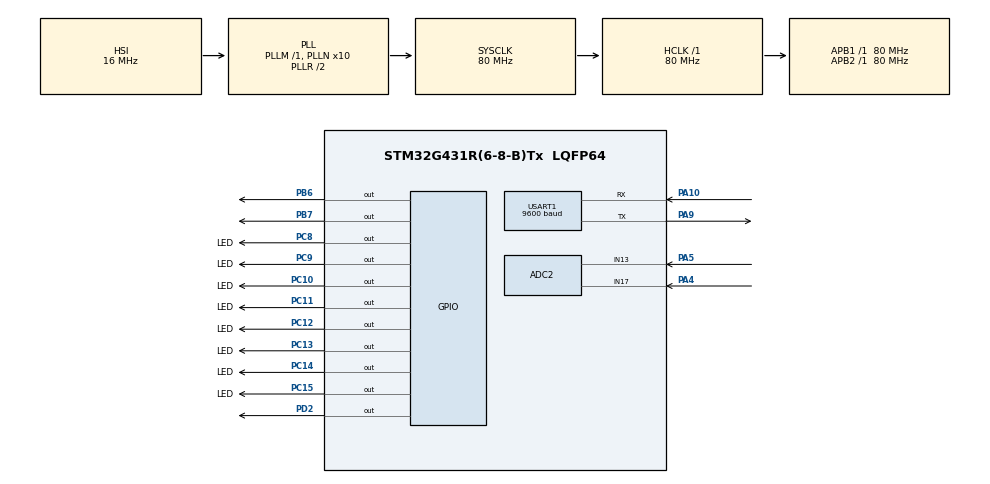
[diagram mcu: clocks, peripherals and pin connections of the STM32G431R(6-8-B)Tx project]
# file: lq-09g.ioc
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ADC2.Channel-0\#ChannelRegularConversion=ADC_CHANNEL_17
ADC2.Channel-1\#ChannelRegularConversion=ADC_CHANNEL_13
ADC2.ClockPrescaler=ADC_CLOCK_SYNC_PCLK_DIV2
ADC2.ContinuousConvMode=ENABLE
ADC2.DMAContinuousRequests=ENABLE
ADC2.EOCSelection=ADC_EOC_SEQ_CONV
ADC2.ExternalTrigConv=ADC_SOFTWARE_START
ADC2.NbrOfConversion=2
ADC2.NbrOfConversionFlag=1
ADC2.OffsetNumber-0\#ChannelRegularConversion=ADC_OFFSET_NONE
ADC2.OffsetNumber-1\#ChannelRegularConversion=ADC_OFFSET_NONE
ADC2.Rank-0\#ChannelRegularConversion=1
ADC2.Rank-1\#ChannelRegularConversion=2
ADC2.SamplingTime-0\#ChannelRegularConversion=ADC_SAMPLETIME_47CYCLES_5
ADC2.SamplingTime-1\#ChannelRegularConversion=ADC_SAMPLETIME_47CYCLES_5
Dma.ADC2.0.Direction=DMA_PERIPH_TO_MEMORY
Dma.ADC2.0.EventEnable=DISABLE
Dma.ADC2.0.Instance=DMA1_Channel1
Dma.ADC2.0.MemDataAlignment=DMA_MDATAALIGN_WORD
Dma.ADC2.0.MemInc=DMA_MINC_ENABLE
Dma.ADC2.0.Mode=DMA_CIRCULAR
Dma.ADC2.0.PeriphDataAlignment=DMA_PDATAALIGN_HALFWORD
Dma.ADC2.0.PeriphInc=DMA_PINC_DISABLE
Dma.ADC2.0.Polarity=HAL_DMAMUX_REQ_GEN_RISING
Dma.ADC2.0.Priority=DMA_PRIORITY_HIGH
Dma.ADC2.0.RequestNumber=1
Dma.ADC2.0.SignalID=NONE
Dma.ADC2.0.SyncEnable=DISABLE
Dma.ADC2.0.SyncPolarity=HAL_DMAMUX_SYNC_NO_EVENT
Dma.ADC2.0.SyncRequestNumber=1
Dma.ADC2.0.SyncSignalID=NONE
Dma.Request0=ADC2
Mcu.Family=STM32G4
Mcu.Name=STM32G431R(6-8-B)Tx
Mcu.Package=LQFP64
NVIC.ADC1_2_IRQn=true\:0\:0\:false\:false\:true\:true\:true\:true
NVIC.DMA1_Channel1_IRQn=true\:0\:0\:false\:false\:true\:false\:true\:true
NVIC.PriorityGroup=NVIC_PRIORITYGROUP_4
NVIC.TIM6_DAC_IRQn=true\:0\:0\:false\:false\:true\:true\:true\:true
PA10.Mode=Asynchronous
PA10.Signal=USART1_RX
PA13.Mode=Serial_Wire
PA13.Signal=SYS_JTMS-SWDIO
PA14.Mode=Serial_Wire
PA14.Signal=SYS_JTCK-SWCLK
PA4.Mode=IN17-Single-Ended
PA4.Signal=ADC2_IN17
PA5.Mode=IN13-Single-Ended
PA5.Signal=ADC2_IN13
PA9.Mode=Asynchronous
PA9.Signal=USART1_TX
PB6.Signal=GPIO_Output
PB7.Signal=GPIO_Output
PC10.GPIO_Label=LED
PC10.GPIO_ModeDefaultOutputPP=GPIO_MODE_OUTPUT_PP
PC10.GPIO_PuPd=GPIO_PULLUP
PC10.GPIO_Speed=GPIO_SPEED_FREQ_LOW
PC10.PinState=GPIO_PIN_SET
PC10.Signal=GPIO_Output
PC11.GPIO_Label=LED
PC11.GPIO_ModeDefaultOutputPP=GPIO_MODE_OUTPUT_PP
PC11.GPIO_PuPd=GPIO_PULLUP
PC11.GPIO_Speed=GPIO_SPEED_FREQ_LOW
PC11.PinState=GPIO_PIN_SET
PC11.Signal=GPIO_Output
PC12.GPIO_Label=LED
PC12.GPIO_ModeDefaultOutputPP=GPIO_MODE_OUTPUT_PP
PC12.GPIO_PuPd=GPIO_PULLUP
PC12.GPIO_Speed=GPIO_SPEED_FREQ_LOW
PC12.PinState=GPIO_PIN_SET
PC12.Signal=GPIO_Output
PC13.GPIO_Label=LED
PC13.GPIO_ModeDefaultOutputPP=GPIO_MODE_OUTPUT_PP
PC13.GPIO_PuPd=GPIO_PULLUP
PC13.GPIO_Speed=GPIO_SPEED_FREQ_LOW
PC13.PinState=GPIO_PIN_SET
PC13.Signal=GPIO_Output
PC14-OSC32_IN.GPIO_Label=LED
PC14-OSC32_IN.GPIO_ModeDefaultOutputPP=GPIO_MODE_OUTPUT_PP
PC14-OSC32_IN.GPIO_PuPd=GPIO_PULLUP
PC14-OSC32_IN.GPIO_Speed=GPIO_SPEED_FREQ_LOW
PC14-OSC32_IN.PinState=GPIO_PIN_SET
PC14-OSC32_IN.Signal=GPIO_Output
PC15-OSC32_OUT.GPIO_Label=LED
PC15-OSC32_OUT.GPIO_ModeDefaultOutputPP=GPIO_MODE_OUTPUT_PP
PC15-OSC32_OUT.GPIO_PuPd=GPIO_PULLUP
PC15-OSC32_OUT.GPIO_Speed=GPIO_SPEED_FREQ_LOW
PC15-OSC32_OUT.PinState=GPIO_PIN_SET
PC15-OSC32_OUT.Signal=GPIO_Output
PC8.GPIO_Label=LED
PC8.GPIO_ModeDefaultOutputPP=GPIO_MODE_OUTPUT_PP
PC8.GPIO_PuPd=GPIO_PULLUP
PC8.GPIO_Speed=GPIO_SPEED_FREQ_LOW
PC8.PinState=GPIO_PIN_SET
PC8.Signal=GPIO_Output
PC9.GPIO_Label=LED
PC9.GPIO_ModeDefaultOutputPP=GPIO_MODE_OUTPUT_PP
PC9.GPIO_PuPd=GPIO_PULLUP
PC9.GPIO_Speed=GPIO_SPEED_FREQ_LOW
PC9.PinState=GPIO_PIN_SET
PC9.Signal=GPIO_Output
PD2.GPIO_PuPd=GPIO_PULLDOWN
PD2.Signal=GPIO_Output
PF0-OSC_IN.Mode=HSE-External-Oscillator
PF0-OSC_IN.Signal=RCC_OSC_IN
PF1-OSC_OUT.Mode=HSE-External-Oscillator
PF1-OSC_OUT.Signal=RCC_OSC_OUT
ProjectManager.HeapSize=0x200
ProjectManager.StackSize=0x400
ProjectManager.TargetToolchain=MDK-ARM V5
RCC.ADC12Freq_Value=80000000
RCC.AHBFreq_Value=80000000
RCC.APB1Freq_Value=80000000
RCC.APB1TimFreq_Value=80000000
RCC.APB2Freq_Value=80000000
RCC.APB2TimFreq_Value=80000000
RCC.CortexFreq_Value=80000000
RCC.EXTERNAL_CLOCK_VALUE=12288000
RCC.HCLKFreq_Value=80000000
RCC.HSE_VALUE=8000000
RCC.HSI48_VALUE=48000000
RCC.HSI_VALUE=16000000
RCC.LSE_VALUE=32768
RCC.PLLN=10
RCC.SYSCLKFreq_VALUE=80000000
RCC.SYSCLKSource=RCC_SYSCLKSOURCE_PLLCLK
RCC.USBFreq_Value=80000000
RCC.VCOOutputFreq_Value=160000000
TIM6.AutoReloadPreload=TIM_AUTORELOAD_PRELOAD_ENABLE
TIM6.PeriodNoDither=9999
TIM6.Prescaler=799
TIM6.TIM_MasterOutputTrigger=TIM_TRGO_RESET
USART1.BaudRate=9600
USART1.VirtualMode-Asynchronous=VM_ASYNC
VP_SYS_VS_DBSignals.Mode=DisableDeadBatterySignals
VP_TIM6_VS_ClockSourceINT.Mode=Enable_Timer
board=custom

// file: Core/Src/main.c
/* USER CODE BEGIN Header */
/**
  ******************************************************************************
  * @file           : main.c
  * @brief          : Main program body
  ******************************************************************************
  * @attention
  *
  * Copyright (c) 2023 STMicroelectronics.
  * All rights reserved.
  *
  * This software is licensed under terms that can be found in the LICENSE file
  * in the root directory of this software component.
  * If no LICENSE file comes with this software, it is provided AS-IS.
  *
  ******************************************************************************
  */
/* USER CODE END Header */
#include "main.h"
#include "adc.h"
#include "dma.h"
#include "tim.h"
#include "usart.h"
#include "gpio.h"

/* USER CODE BEGIN Includes */
#include <stdlib.h>
#include <stdbool.h>
#include <stdio.h>
#include <stdarg.h>
#include <string.h>
#include <math.h>
#include "i2c.h"
#include "lcd.h"
/* USER CODE END Includes */

/* USER CODE BEGIN PTD */
typedef struct _adcData {
	uint32_t vin;
	uint32_t key;
} ADCData;
/* USER CODE END PTD */

/* USER CODE BEGIN PD */
#define ADC_BUF_SIZE 1
/* USER CODE END PD */

/* USER CODE BEGIN PM */
#define dspl(ln, txt) \
	LCD_DisplayStringLine(ln * 24, (uint8_t *)txt)

#define putKeyBuf(k, s) \
	keyBuf[k] = (keyBuf[k] << 1) | s

#define getKey(r) \
	((r < 2048) ? \
		(r < 128) ? 1 : \
		(r < 1024) ? 2 : \
		(r < 1500) ? 3 : \
		4 : \
	(r < 2500) ? 5 : \
	(r < 3000) ? 6 : \
	(r < 3700) ? 7 : \
	(r < 4000) << 3)
/* USER CODE END PM */

/* USER CODE BEGIN PV */
ADCData 	adcBuf;
uint8_t		keyBuf		= 0;
uint8_t		keyStreak	= 0;
uint32_t	keyIn		= 0;
bool 		settings 	= false;
uint8_t		goodsCode	= 1; // 1-3
uint32_t	*unitPrices;
uint32_t	changes		= 0;
uint32_t 	weight		= 0;
bool		keyDown[9]	= {0};
/* USER CODE END PV */

void SystemClock_Config(void);
/* USER CODE BEGIN PFP */
void dsplf(int ln, const char *, ...);
void render(void);
void updateWeight(int wt);
void setGoodsCode(int code);
/* USER CODE END PFP */

int main(void)
{
  /* USER CODE BEGIN 1 */
	unitPrices = (uint32_t *)malloc(128);
	unitPrices[1] = 1;
	unitPrices[2] = 2;
	unitPrices[3] = 5;

  /* USER CODE END 1 */

  /* MCU Configuration--------------------------------------------------------*/

  /* Reset of all peripherals, Initializes the Flash interface and the Systick. */
  HAL_Init();

  /* Configure the system clock */
  SystemClock_Config();

  /* Initialize all configured peripherals */
  MX_GPIO_Init();
  MX_DMA_Init();
  MX_ADC2_Init();
  MX_TIM6_Init();
  MX_USART1_UART_Init();
  /* USER CODE BEGIN 2 */

	//lcd init
	HAL_ADCEx_Calibration_Start(&hadc2, ADC_SINGLE_ENDED);
	HAL_ADC_Start_DMA(&hadc2, (uint32_t *)&adcBuf, 2);
	HAL_TIM_Base_Start_IT(&htim6);

	//i2c read & prices fetch

	LCD_Init();
	LCD_PowerOn();
	LCD_SetBackColor(Black);
	LCD_SetTextColor(White);
	LCD_Clear(Black);
	render();

  /* USER CODE END 2 */

  /* Infinite loop */
  while (1)
  {

  }
}

void SystemClock_Config(void)
{
  RCC_OscInitTypeDef RCC_OscInitStruct = {0};
  RCC_ClkInitTypeDef RCC_ClkInitStruct = {0};

  /** Configure the main internal regulator output voltage
  */
  HAL_PWREx_ControlVoltageScaling(PWR_REGULATOR_VOLTAGE_SCALE1);

  /** Initializes the RCC Oscillators according to the specified parameters
  * in the RCC_OscInitTypeDef structure.
  */
  RCC_OscInitStruct.OscillatorType = RCC_OSCILLATORTYPE_HSI;
  RCC_OscInitStruct.HSIState = RCC_HSI_ON;
  RCC_OscInitStruct.HSICalibrationValue = RCC_HSICALIBRATION_DEFAULT;
  RCC_OscInitStruct.PLL.PLLState = RCC_PLL_ON;
  RCC_OscInitStruct.PLL.PLLSource = RCC_PLLSOURCE_HSI;
  RCC_OscInitStruct.PLL.PLLM = RCC_PLLM_DIV1;
  RCC_OscInitStruct.PLL.PLLN = 10;
  RCC_OscInitStruct.PLL.PLLP = RCC_PLLP_DIV2;
  RCC_OscInitStruct.PLL.PLLQ = RCC_PLLQ_DIV2;
  RCC_OscInitStruct.PLL.PLLR = RCC_PLLR_DIV2;
  if (HAL_RCC_OscConfig(&RCC_OscInitStruct) != HAL_OK)
  {
    Error_Handler();
  }

  /** Initializes the CPU, AHB and APB buses clocks
  */
  RCC_ClkInitStruct.ClockType = RCC_CLOCKTYPE_HCLK|RCC_CLOCKTYPE_SYSCLK
                              |RCC_CLOCKTYPE_PCLK1|RCC_CLOCKTYPE_PCLK2;
  RCC_ClkInitStruct.SYSCLKSource = RCC_SYSCLKSOURCE_PLLCLK;
  RCC_ClkInitStruct.AHBCLKDivider = RCC_SYSCLK_DIV1;
  RCC_ClkInitStruct.APB1CLKDivider = RCC_HCLK_DIV1;
  RCC_ClkInitStruct.APB2CLKDivider = RCC_HCLK_DIV1;

  if (HAL_RCC_ClockConfig(&RCC_ClkInitStruct, FLASH_LATENCY_2) != HAL_OK)
  {
    Error_Handler();
  }
}

/* USER CODE BEGIN 4 */

void HAL_TIM_PeriodElapsedCallback(TIM_HandleTypeDef *htim) {
	if(htim->Instance == TIM6) {
		register uint8_t r = getKey(adcBuf.key);
		keyIn = r;
		if(r == keyBuf) {
			if(++keyStreak == 17) keyStreak = 16;
		}
		else {
			keyStreak = 1;
			keyDown[keyBuf] = false;
			keyBuf = r;
		}
		if(!r) goto cplt;
		if(keyStreak > 7) {
			switch(r) {
				case 2: // +

					goto cplt;
				case 3: // -

					goto cplt;
				default:
					break;
			}
		}
		float cost;
		if(keyStreak > 1) {
			if(r != 2 && r != 3 && keyDown[r]) return;
			keyDown[r] = true;
			switch(r) {
				case 1: //settings
					settings = ! settings;
					render();
					break;
				case 2: // +
					break;
				case 3: // -
					break;
				case 4: // switch
					break;
				case 5: // g1
				case 6: // g2
				case 7: // g3
					setGoodsCode(r - 4);
					break;
				case 8: // calc
					cost = unitPrices[goodsCode] * weight / 10000.0;
					dsplf(6, "  Total: %.2f yuan   ", cost);
					printf("U.W.1:%.2f\nG.W.:%.2f\nTotal:%.2f\n", unitPrices[goodsCode] / 100.0, weight / 100.0, cost);
					break;
			}
		}
		cplt:
		r = abs((int)adcBuf.vin - (int)weight);
		if(r > 16) updateWeight(r);
		__HAL_TIM_ENABLE(&htim6);
	}
}

inline void setGoodsCode(int code) {
	if(code == goodsCode) return;
	goodsCode = code;
	if(settings) return;
	render();
}

inline void updateWeight(int wt) {
	weight = wt;
	if(settings) return;
	dsplf(5, "  Weight: %.2f kg    ", wt / 100.0);

}

inline void render() {
	LCD_Clear(Black);
	if(settings) {

		return;
	}
	dspl(1,  "    Weigh & Pay     ");
	dsplf(3, " Number: %d  ", goodsCode);
	dsplf(4, " Unit price: %.2f y/kg  ",unitPrices[goodsCode] / 100.0);
	updateWeight(weight);
}

inline void dsplf(int ln, const char *fmt, ...) {
	va_list ap;
	va_start(ap, fmt);
	uint8_t *buf = (uint8_t *)malloc(256);
	memset(buf, 0, 256);
	vsprintf((char *)buf, fmt, ap);
	dspl(ln, buf);
	free(buf);
	va_end(ap);
}

int fputc(int ch, FILE *f) {
	HAL_UART_Transmit(&huart1, (uint8_t *)&ch, 1, 0xFF);
	return ch;
}
/* USER CODE END 4 */

void Error_Handler(void)
{
  __disable_irq();
  while (1)
  {
  }
}
